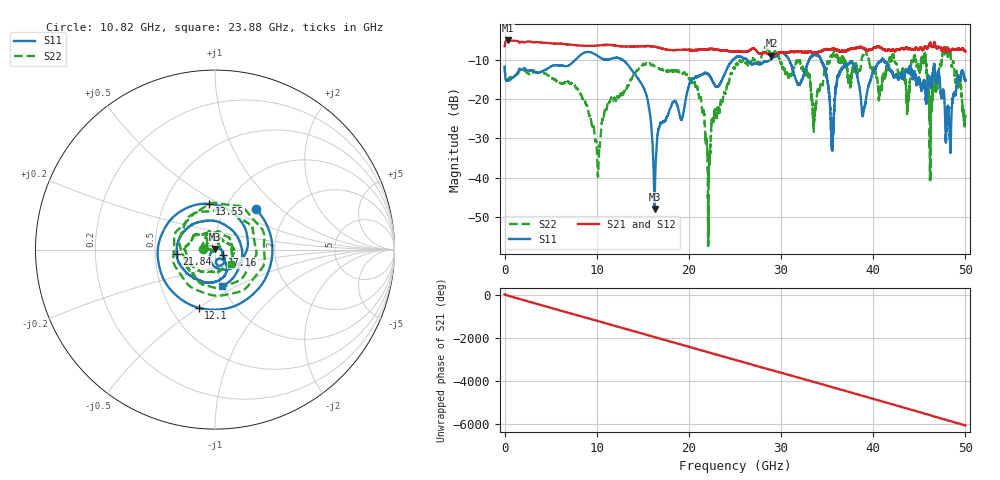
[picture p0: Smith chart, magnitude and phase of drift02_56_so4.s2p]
!Created with skrf (http://scikit-rf.org).
# Hz S RI R 50.0
!freq ReS11 ImS11 ReS21 ImS21 ReS12 ImS12 ReS22 ImS22
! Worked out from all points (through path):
!   10001 points, 300 kHz to 50 GHz, reference 50 ohm
!   highest |S21| = -5.04 dB at 320.3 MHz (marker M1); lowest = -8.9 dB at 28.96 GHz (marker M2)
!   group delay of S21, straight-line fit = 336 ps
!   lowest |S11| = -48.0 dB at 16.27 GHz (marker M3), VSWR 1.01, Z = 49.9 + j0.371 ohm
!   |S11| at or under -10 dB: start of sweep to 7.666 GHz; 12.82 GHz to 24.77 GHz (11.95 GHz wide, 63.6 % of centre); 41.13 GHz to end of sweep (the widest 3 of 12)
!   |S22| runs from -57.5 to -6.7 dB; largest |S21 - S12| = 0.029
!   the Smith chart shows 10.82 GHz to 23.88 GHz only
!   S11 on the Smith chart (normalised r, x): 10.82 GHz: 1.39, +0.70; 12.1 GHz: 0.68, -0.50; 13.55 GHz: 0.83, +0.45; 17.16 GHz: 1.09, -0.06; 21.84 GHz: 0.65, -0.03; 23.88 GHz: 1.00, -0.42
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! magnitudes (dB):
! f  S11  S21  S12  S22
! 300 kHz  -11.7  -6.5  -6.5  -11.7
! 320.3 MHz  -15.3  -5.0  -5.0  -15.1
! 8.335 GHz  -8.6  -6.4  -6.4  -19.1
! 10.11 GHz  -9.0  -6.3  -6.3  -38.7
! 10.82 GHz  -9.9  -6.2  -6.2  -23.6
! 12.1 GHz  -9.5  -6.4  -6.4  -20.4
! 13.55 GHz  -11.8  -6.6  -6.6  -15.9
! 16.27 GHz  -48.0  -6.6  -6.6  -11.7
! 16.67 GHz  -27.9  -6.8  -6.8  -12.1
! 17.16 GHz  -25.9  -7.1  -7.1  -12.5
! 21.84 GHz  -13.4  -7.3  -7.3  -30.7
! 23.88 GHz  -13.7  -7.6  -7.6  -18.3
! 25 GHz  -9.6  -7.8  -7.8  -12.0
! 28.96 GHz  -9.8  -8.9  -8.8  -8.0
! 33.34 GHz  -9.1  -8.0  -8.0  -19.9
! 35.55 GHz  -31.9  -7.2  -7.2  -9.1
! 36.78 GHz  -11.9  -7.8  -7.8  -10.1
! 41.67 GHz  -11.8  -7.4  -7.5  -11.9
! 45.49 GHz  -15.5  -7.1  -7.0  -9.6
! 46.26 GHz  -16.9  -6.2  -6.2  -23.8
! 48.12 GHz  -21.8  -7.1  -7.1  -8.9
! 50 GHz  -15.2  -7.9  -7.8  -23.3
